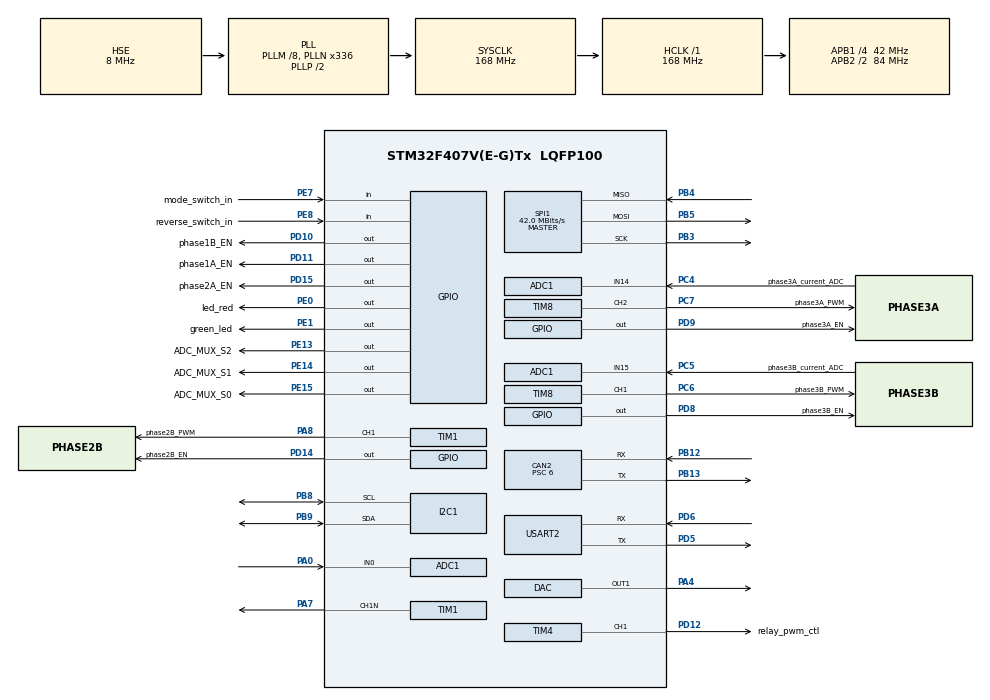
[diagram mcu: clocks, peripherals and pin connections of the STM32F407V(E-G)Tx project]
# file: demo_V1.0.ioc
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ADC1.Channel-14\#ChannelRegularConversion=ADC_CHANNEL_14
ADC1.Channel-15\#ChannelRegularConversion=ADC_CHANNEL_15
ADC1.Channel-16\#ChannelRegularConversion=ADC_CHANNEL_14
ADC1.Channel-17\#ChannelRegularConversion=ADC_CHANNEL_15
ADC1.Channel-18\#ChannelRegularConversion=ADC_CHANNEL_14
ADC1.Channel-19\#ChannelRegularConversion=ADC_CHANNEL_15
ADC1.Channel-20\#ChannelRegularConversion=ADC_CHANNEL_14
ADC1.Channel-21\#ChannelRegularConversion=ADC_CHANNEL_15
ADC1.Channel-22\#ChannelRegularConversion=ADC_CHANNEL_14
ADC1.Channel-23\#ChannelRegularConversion=ADC_CHANNEL_15
ADC1.Channel-24\#ChannelRegularConversion=ADC_CHANNEL_14
ADC1.Channel-26\#ChannelRegularConversion=ADC_CHANNEL_0
ADC1.ContinuousConvMode=ENABLE
ADC1.EOCSelection=ADC_EOC_SEQ_CONV
ADC1.EnableAnalogWatchDog=true
ADC1.ExternalTrigConv=ADC_EXTERNALTRIGCONV_T3_CC1
ADC1.ExternalTrigConvEdge=ADC_EXTERNALTRIGCONVEDGE_RISING
ADC1.HighThreshold=4095
ADC1.ITMode=ENABLE
ADC1.NbrOfConversion=12
ADC1.NbrOfConversionFlag=1
ADC1.Rank-14\#ChannelRegularConversion=1
ADC1.Rank-15\#ChannelRegularConversion=2
ADC1.Rank-16\#ChannelRegularConversion=3
ADC1.Rank-17\#ChannelRegularConversion=4
ADC1.Rank-18\#ChannelRegularConversion=5
ADC1.Rank-19\#ChannelRegularConversion=6
ADC1.Rank-20\#ChannelRegularConversion=7
ADC1.Rank-21\#ChannelRegularConversion=8
ADC1.Rank-22\#ChannelRegularConversion=9
ADC1.Rank-23\#ChannelRegularConversion=10
ADC1.Rank-24\#ChannelRegularConversion=11
ADC1.Rank-26\#ChannelRegularConversion=12
ADC1.SamplingTime-14\#ChannelRegularConversion=ADC_SAMPLETIME_15CYCLES
ADC1.SamplingTime-15\#ChannelRegularConversion=ADC_SAMPLETIME_15CYCLES
ADC1.SamplingTime-16\#ChannelRegularConversion=ADC_SAMPLETIME_15CYCLES
ADC1.SamplingTime-17\#ChannelRegularConversion=ADC_SAMPLETIME_15CYCLES
ADC1.SamplingTime-18\#ChannelRegularConversion=ADC_SAMPLETIME_15CYCLES
ADC1.SamplingTime-19\#ChannelRegularConversion=ADC_SAMPLETIME_15CYCLES
ADC1.SamplingTime-20\#ChannelRegularConversion=ADC_SAMPLETIME_15CYCLES
ADC1.SamplingTime-21\#ChannelRegularConversion=ADC_SAMPLETIME_15CYCLES
ADC1.SamplingTime-22\#ChannelRegularConversion=ADC_SAMPLETIME_15CYCLES
ADC1.SamplingTime-23\#ChannelRegularConversion=ADC_SAMPLETIME_15CYCLES
ADC1.SamplingTime-24\#ChannelRegularConversion=ADC_SAMPLETIME_15CYCLES
ADC1.SamplingTime-26\#ChannelRegularConversion=ADC_SAMPLETIME_3CYCLES
ADC1.ScanConvMode=ENABLE
ADC1.WatchdogMode=ADC_ANALOGWATCHDOG_ALL_REG
ADC1.master=1
CAN2.ABOM=ENABLE
CAN2.BS1=CAN_BS1_6TQ
CAN2.BS2=CAN_BS2_7TQ
CAN2.CalculateBaudRate=500000
CAN2.CalculateTimeBit=2000
CAN2.CalculateTimeQuantum=142.85714285714286
CAN2.Prescaler=6
CAN2.RFLM=DISABLE
CAN2.TXFP=DISABLE
DAC.DAC_Trigger=DAC_TRIGGER_NONE
Dma.ADC1.2.Direction=DMA_PERIPH_TO_MEMORY
Dma.ADC1.2.FIFOMode=DMA_FIFOMODE_DISABLE
Dma.ADC1.2.Instance=DMA2_Stream0
Dma.ADC1.2.MemDataAlignment=DMA_MDATAALIGN_HALFWORD
Dma.ADC1.2.MemInc=DMA_MINC_ENABLE
Dma.ADC1.2.Mode=DMA_NORMAL
Dma.ADC1.2.PeriphDataAlignment=DMA_PDATAALIGN_HALFWORD
Dma.ADC1.2.PeriphInc=DMA_PINC_DISABLE
Dma.ADC1.2.Priority=DMA_PRIORITY_HIGH
Dma.Request0=USART2_RX
Dma.Request1=USART2_TX
Dma.Request2=ADC1
Dma.USART2_RX.0.Direction=DMA_PERIPH_TO_MEMORY
Dma.USART2_RX.0.FIFOMode=DMA_FIFOMODE_DISABLE
Dma.USART2_RX.0.Instance=DMA1_Stream5
Dma.USART2_RX.0.MemDataAlignment=DMA_MDATAALIGN_BYTE
Dma.USART2_RX.0.MemInc=DMA_MINC_ENABLE
Dma.USART2_RX.0.Mode=DMA_CIRCULAR
Dma.USART2_RX.0.PeriphDataAlignment=DMA_PDATAALIGN_BYTE
Dma.USART2_RX.0.PeriphInc=DMA_PINC_DISABLE
Dma.USART2_RX.0.Priority=DMA_PRIORITY_HIGH
Dma.USART2_TX.1.Direction=DMA_MEMORY_TO_PERIPH
Dma.USART2_TX.1.FIFOMode=DMA_FIFOMODE_DISABLE
Dma.USART2_TX.1.Instance=DMA1_Stream6
Dma.USART2_TX.1.MemDataAlignment=DMA_MDATAALIGN_BYTE
Dma.USART2_TX.1.MemInc=DMA_MINC_ENABLE
Dma.USART2_TX.1.Mode=DMA_NORMAL
Dma.USART2_TX.1.PeriphDataAlignment=DMA_PDATAALIGN_BYTE
Dma.USART2_TX.1.PeriphInc=DMA_PINC_DISABLE
Dma.USART2_TX.1.Priority=DMA_PRIORITY_HIGH
Mcu.Family=STM32F4
Mcu.Name=STM32F407V(E-G)Tx
Mcu.Package=LQFP100
NVIC.ADC_IRQn=true\:0\:0\:true\:true\:true\:6\:true\:true\:true
NVIC.CAN2_RX0_IRQn=true\:3\:0\:true\:true\:true\:1\:true\:true\:true
NVIC.DMA1_Stream5_IRQn=true\:3\:3\:true\:true\:true\:4\:false\:true\:true
NVIC.DMA1_Stream6_IRQn=true\:3\:3\:true\:true\:true\:3\:false\:true\:true
NVIC.DMA2_Stream0_IRQn=true\:1\:0\:true\:true\:true\:7\:false\:true\:true
NVIC.PriorityGroup=NVIC_PRIORITYGROUP_2
NVIC.TIM3_IRQn=true\:2\:0\:true\:true\:true\:5\:true\:true\:true
NVIC.USART2_IRQn=true\:3\:2\:true\:true\:true\:2\:true\:true\:true
PA0-WKUP.Signal=ADCx_IN0
PA10.GPIO_Label=phase1B_PWM
PA10.GPIO_Speed=GPIO_SPEED_FREQ_VERY_HIGH
PA10.Signal=S_TIM1_CH3
PA11.GPIO_Label=phase1A_PWM
PA11.GPIO_Speed=GPIO_SPEED_FREQ_VERY_HIGH
PA11.Signal=S_TIM1_CH4
PA13.Mode=Serial_Wire
PA13.Signal=SYS_JTMS-SWDIO
PA14.Mode=Serial_Wire
PA14.Signal=SYS_JTCK-SWCLK
PA4.Signal=COMP_DAC1_group
PA7.Mode=PWM Generation1 CH1 CH1N
PA7.Signal=TIM1_CH1N
PA8.GPIO_Label=phase2B_PWM
PA8.GPIO_ModeDefaultPP=GPIO_MODE_AF_PP
PA8.GPIO_Speed=GPIO_SPEED_FREQ_VERY_HIGH
PA8.Signal=S_TIM1_CH1
PA9.GPIO_Label=phase2A_PWM
PA9.GPIO_Speed=GPIO_SPEED_FREQ_VERY_HIGH
PA9.Signal=S_TIM1_CH2
PB12.GPIO_Speed=GPIO_SPEED_FREQ_HIGH
PB12.Mode=CAN_Activate
PB12.Signal=CAN2_RX
PB13.GPIO_Speed=GPIO_SPEED_FREQ_HIGH
PB13.Mode=CAN_Activate
PB13.Signal=CAN2_TX
PB3.Mode=Full_Duplex_Master
PB3.Signal=SPI1_SCK
PB4.Mode=Full_Duplex_Master
PB4.Signal=SPI1_MISO
PB5.Mode=Full_Duplex_Master
PB5.Signal=SPI1_MOSI
PB8.Mode=I2C
PB8.Signal=I2C1_SCL
PB9.Mode=I2C
PB9.Signal=I2C1_SDA
PC4.GPIO_Label=phase3A_current_ADC
PC4.Signal=ADCx_IN14
PC5.GPIO_Label=phase3B_current_ADC
PC5.Signal=ADCx_IN15
PC6.GPIO_Label=phase3B_PWM
PC6.GPIO_Speed=GPIO_SPEED_FREQ_VERY_HIGH
PC6.Signal=S_TIM8_CH1
PC7.GPIO_Label=phase3A_PWM
PC7.GPIO_Speed=GPIO_SPEED_FREQ_VERY_HIGH
PC7.Signal=S_TIM8_CH2
PD10.GPIO_Label=phase1B_EN
PD10.GPIO_ModeDefaultOutputPP=GPIO_MODE_OUTPUT_PP
PD10.GPIO_PuPd=GPIO_NOPULL
PD10.GPIO_Speed=GPIO_SPEED_FREQ_VERY_HIGH
PD10.Signal=GPIO_Output
PD11.GPIO_Label=phase1A_EN
PD11.GPIO_ModeDefaultOutputPP=GPIO_MODE_OUTPUT_PP
PD11.GPIO_PuPd=GPIO_NOPULL
PD11.GPIO_Speed=GPIO_SPEED_FREQ_VERY_HIGH
PD11.Signal=GPIO_Output
PD12.GPIO_Label=relay_pwm_ctl
PD12.Signal=S_TIM4_CH1
PD14.GPIO_Label=phase2B_EN
PD14.GPIO_ModeDefaultOutputPP=GPIO_MODE_OUTPUT_PP
PD14.GPIO_PuPd=GPIO_NOPULL
PD14.GPIO_Speed=GPIO_SPEED_FREQ_VERY_HIGH
PD14.Signal=GPIO_Output
PD15.GPIO_Label=phase2A_EN
PD15.GPIO_ModeDefaultOutputPP=GPIO_MODE_OUTPUT_PP
PD15.GPIO_PuPd=GPIO_NOPULL
PD15.GPIO_Speed=GPIO_SPEED_FREQ_VERY_HIGH
PD15.Signal=GPIO_Output
PD5.GPIO_PuPd=GPIO_PULLUP
PD5.GPIO_Speed=GPIO_SPEED_FREQ_HIGH
PD5.Mode=Asynchronous
PD5.Signal=USART2_TX
PD6.GPIO_PuPd=GPIO_PULLUP
PD6.GPIO_Speed=GPIO_SPEED_FREQ_HIGH
PD6.Mode=Asynchronous
PD6.Signal=USART2_RX
PD8.GPIO_Label=phase3B_EN
PD8.GPIO_ModeDefaultOutputPP=GPIO_MODE_OUTPUT_PP
PD8.GPIO_PuPd=GPIO_NOPULL
PD8.GPIO_Speed=GPIO_SPEED_FREQ_VERY_HIGH
PD8.Signal=GPIO_Output
PD9.GPIO_Label=phase3A_EN
PD9.GPIO_ModeDefaultOutputPP=GPIO_MODE_OUTPUT_PP
PD9.GPIO_PuPd=GPIO_NOPULL
PD9.GPIO_Speed=GPIO_SPEED_FREQ_VERY_HIGH
PD9.Signal=GPIO_Output
PE0.GPIO_Label=led_red
PE0.Signal=GPIO_Output
PE1.GPIO_Label=green_led
PE1.Signal=GPIO_Output
PE13.GPIO_Label=ADC_MUX_S2
PE13.GPIO_ModeDefaultOutputPP=GPIO_MODE_OUTPUT_PP
PE13.GPIO_PuPd=GPIO_NOPULL
PE13.GPIO_Speed=GPIO_SPEED_FREQ_VERY_HIGH
PE13.PinState=GPIO_PIN_RESET
PE13.Signal=GPIO_Output
PE14.GPIO_Label=ADC_MUX_S1
PE14.GPIO_ModeDefaultOutputPP=GPIO_MODE_OUTPUT_PP
PE14.GPIO_PuPd=GPIO_NOPULL
PE14.GPIO_Speed=GPIO_SPEED_FREQ_VERY_HIGH
PE14.PinState=GPIO_PIN_RESET
PE14.Signal=GPIO_Output
PE15.GPIO_Label=ADC_MUX_S0
PE15.GPIO_ModeDefaultOutputPP=GPIO_MODE_OUTPUT_PP
PE15.GPIO_PuPd=GPIO_NOPULL
PE15.GPIO_Speed=GPIO_SPEED_FREQ_VERY_HIGH
PE15.PinState=GPIO_PIN_RESET
PE15.Signal=GPIO_Output
PE7.GPIO_Label=mode_switch_in
PE7.Signal=GPIO_Input
PE8.GPIO_Label=reverse_switch_in
PE8.Signal=GPIO_Input
PH0-OSC_IN.Mode=HSE-External-Oscillator
PH0-OSC_IN.Signal=RCC_OSC_IN
PH1-OSC_OUT.Mode=HSE-External-Oscillator
PH1-OSC_OUT.Signal=RCC_OSC_OUT
ProjectManager.HeapSize=0x2800
ProjectManager.StackSize=0x2100
ProjectManager.TargetToolchain=MDK-ARM V5.27
RCC.48MHZClocksFreq_Value=84000000
RCC.AHBFreq_Value=168000000
RCC.APB1CLKDivider=RCC_HCLK_DIV4
RCC.APB1Freq_Value=42000000
RCC.APB1TimFreq_Value=84000000
RCC.APB2CLKDivider=RCC_HCLK_DIV2
RCC.APB2Freq_Value=84000000
RCC.APB2TimFreq_Value=168000000
RCC.CortexFreq_Value=168000000
RCC.EnbaleCSS=true
RCC.HCLKFreq_Value=168000000
RCC.HSE_VALUE=8000000
RCC.HSI_VALUE=16000000
RCC.LSE_VALUE=32768
RCC.PLLM=8
RCC.PLLN=336
RCC.PLLSourceVirtual=RCC_PLLSOURCE_HSE
RCC.SYSCLKFreq_VALUE=168000000
RCC.SYSCLKSource=RCC_SYSCLKSOURCE_PLLCLK
RCC.VCOOutputFreq_Value=336000000
SH.ADCx_IN0.0=ADC1_IN0,IN0
SH.ADCx_IN14.0=ADC1_IN14,IN14
SH.ADCx_IN15.0=ADC1_IN15,IN15
SH.COMP_DAC1_group.0=DAC_OUT1,DAC_OUT1
SH.S_TIM1_CH1.0=TIM1_CH1,PWM Generation1 CH1 CH1N
SH.S_TIM1_CH2.0=TIM1_CH2
SH.S_TIM1_CH3.0=TIM1_CH3
SH.S_TIM1_CH4.0=TIM1_CH4
SH.S_TIM4_CH1.0=TIM4_CH1,PWM Generation1 CH1
SH.S_TIM8_CH1.0=TIM8_CH1,PWM Generation1 CH1
SH.S_TIM8_CH2.0=TIM8_CH2,PWM Generation2 CH2
SPI1.BaudRatePrescaler=SPI_BAUDRATEPRESCALER_2
SPI1.CalculateBaudRate=42.0 MBits/s
SPI1.Direction=SPI_DIRECTION_2LINES
SPI1.Mode=SPI_MODE_MASTER
SPI1.VirtualType=VM_MASTER
TIM1.AutomaticOutput=TIM_AUTOMATICOUTPUT_ENABLE
TIM1.BreakState=TIM_BREAK_ENABLE
TIM1.Channel-PWM\ Generation1\ CH1\ CH1N=TIM_CHANNEL_1
TIM1.CounterMode=TIM_COUNTERMODE_CENTERALIGNED3
TIM1.LockLevel=TIM_LOCKLEVEL_OFF
TIM1.OC1Preload_PWM=DISABLE
TIM1.OCIdleState_1=TIM_OCIDLESTATE_SET
TIM1.OCPolarity_1=TIM_OCPOLARITY_LOW
TIM1.OffStateIDLEMode=TIM_OSSI_ENABLE
TIM1.OffStateRunMode=TIM_OSSR_ENABLE
TIM1.Period=1399
TIM1.Prescaler=3
TIM2.Period=1999
TIM2.TIM_MasterOutputTrigger=TIM_TRGO_ENABLE
TIM2.TIM_MasterSlaveMode=TIM_MASTERSLAVEMODE_ENABLE
TIM3.AutoReloadPreload=TIM_AUTORELOAD_PRELOAD_DISABLE
TIM3.Channel-PWM\ Generation1\ No\ Output=TIM_CHANNEL_1
TIM3.OC1Preload_PWM=DISABLE
TIM3.OCMode_PWM-PWM\ Generation1\ No\ Output=TIM_OCMODE_PWM2
TIM3.Period=1399
TIM3.Prescaler=1
TIM3.Pulse-PWM\ Generation1\ No\ Output=721
TIM3.TIM_MasterOutputTrigger=TIM_TRGO_OC1REF
TIM3.TIM_MasterSlaveMode=TIM_MASTERSLAVEMODE_DISABLE
TIM4.Channel-PWM\ Generation1\ CH1=TIM_CHANNEL_1
TIM4.CounterMode=TIM_COUNTERMODE_CENTERALIGNED3
TIM4.OC1Preload_PWM=DISABLE
TIM4.OCMode_PWM-PWM\ Generation1\ CH1=TIM_OCMODE_PWM2
TIM4.OCPolarity_1=TIM_OCPOLARITY_LOW
TIM4.Period=1399
TIM4.Prescaler=1
TIM8.Channel-PWM\ Generation1\ CH1=TIM_CHANNEL_1
TIM8.Channel-PWM\ Generation2\ CH2=TIM_CHANNEL_2
TIM8.CounterMode=TIM_COUNTERMODE_CENTERALIGNED3
TIM8.OC1Preload_PWM=DISABLE
TIM8.OC2Preload_PWM=DISABLE
TIM8.OCIdleState_1=TIM_OCIDLESTATE_SET
TIM8.OCIdleState_2=TIM_OCIDLESTATE_SET
TIM8.OCMode_PWM-PWM\ Generation1\ CH1=TIM_OCMODE_PWM2
TIM8.OCMode_PWM-PWM\ Generation2\ CH2=TIM_OCMODE_PWM2
TIM8.OCPolarity_1=TIM_OCPOLARITY_LOW
TIM8.OCPolarity_2=TIM_OCPOLARITY_LOW
TIM8.Period=1399
TIM8.Prescaler=3
USART2.VirtualMode=VM_ASYNC
VP_CRC_VS_CRC.Mode=CRC_Activate
VP_TIM1_VS_ClockSourceINT.Mode=Internal
VP_TIM2_VS_ClockSourceINT.Mode=Internal
VP_TIM3_VS_ClockSourceINT.Mode=Internal
VP_TIM3_VS_ClockSourceITR.Mode=TriggerSource_ITR1
VP_TIM3_VS_ControllerModeReset.Mode=Reset Mode
VP_TIM3_VS_no_output1.Mode=PWM Generation1 No Output
VP_TIM4_VS_ClockSourceINT.Mode=Internal
VP_TIM4_VS_ClockSourceITR.Mode=TriggerSource_ITR1
VP_TIM4_VS_ControllerModeReset.Mode=Reset Mode
VP_TIM8_VS_ClockSourceINT.Mode=Internal
VP_TIM8_VS_ClockSourceITR.Mode=TriggerSource_ITR1
VP_TIM8_VS_ControllerModeReset.Mode=Reset Mode
board=custom

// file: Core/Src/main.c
/* USER CODE BEGIN Header */
/**
  ******************************************************************************
  * @file           : main.c
  * @brief          : Main program body
  ******************************************************************************
  * @attention
  *
  * Copyright (c) 2025 STMicroelectronics.
  * All rights reserved.
  *
  * This software is licensed under terms that can be found in the LICENSE file
  * in the root directory of this software component.
  * If no LICENSE file comes with this software, it is provided AS-IS.
  *
  ******************************************************************************
  */
/* USER CODE END Header */
#include "main.h"
#include "adc.h"
#include "can.h"
#include "crc.h"
#include "dac.h"
#include "dma.h"
#include "i2c.h"
#include "spi.h"
#include "tim.h"
#include "usart.h"
#include "gpio.h"

/* USER CODE BEGIN Includes */
#include "System_configuration.h"
#include "SchedulerBalance.h"

/* USER CODE END Includes */

/* USER CODE BEGIN PV */
volatile uint8_t CurrentZeroOffsetReadFlg = 0;
volatile uint8_t selfcheck_state = 0;
/* USER CODE END PV */

void SystemClock_Config(void);
static void MX_NVIC_Init(void);

int main(void)
{

  /* USER CODE BEGIN 1 */
#ifdef BOOT_MODE
	/*���������������������������������� Ӧ�ó���APP ��������������������������������*/
//  NVIC_SetVectorTable(NVIC_VectTab_FLASH, 0x20000);
#endif
  /* USER CODE END 1 */

  /* MCU Configuration--------------------------------------------------------*/

  /* Reset of all peripherals, Initializes the Flash interface and the Systick. */
  HAL_Init();

  /* Configure the system clock */
  SystemClock_Config();

  /* USER CODE BEGIN SysInit */
  FlashWriteFuse();//����˿
	get_FlashFuse_Status();                 //��ȡ��˿״̬

  /* USER CODE END SysInit */

  /* Initialize all configured peripherals */
  MX_GPIO_Init();
  MX_DMA_Init();
  MX_CRC_Init();
  MX_USART2_UART_Init();
  MX_ADC1_Init();
  MX_CAN2_Init();
  MX_TIM2_Init();
  MX_TIM3_Init();
  MX_TIM8_Init();
  MX_TIM1_Init();
  MX_TIM4_Init();
  MX_I2C1_Init();
  MX_SPI1_Init();
  MX_DAC_Init();

  /* Initialize interrupts */
  MX_NVIC_Init();
  /* USER CODE BEGIN 2 */
  SysInit_main();//ϵͳ��ʼ��
	HAL_Delay(500*2);
	CurrentZeroOffsetReadFlg = 1;
	selfcheck_state = 1;
  /* USER CODE END 2 */

  /* Infinite loop */
  /* USER CODE BEGIN WHILE */
  while (1)
  {
		if(1 == mFuntion_Manage.Time_500us_RunFlag)
		{
			mFuntion_Manage.Time_500us_RunFlag = 0;
			TaskScheduler(task_t, TASK_NUM);
		}
    /* USER CODE END WHILE */

  }
}

void SystemClock_Config(void)
{
  RCC_OscInitTypeDef RCC_OscInitStruct = {0};
  RCC_ClkInitTypeDef RCC_ClkInitStruct = {0};

  /** Configure the main internal regulator output voltage
  */
  __HAL_RCC_PWR_CLK_ENABLE();
  __HAL_PWR_VOLTAGESCALING_CONFIG(PWR_REGULATOR_VOLTAGE_SCALE1);

  /** Initializes the RCC Oscillators according to the specified parameters
  * in the RCC_OscInitTypeDef structure.
  */
  RCC_OscInitStruct.OscillatorType = RCC_OSCILLATORTYPE_HSE;
  RCC_OscInitStruct.HSEState = RCC_HSE_ON;
  RCC_OscInitStruct.PLL.PLLState = RCC_PLL_ON;
  RCC_OscInitStruct.PLL.PLLSource = RCC_PLLSOURCE_HSE;
  RCC_OscInitStruct.PLL.PLLM = 8;
  RCC_OscInitStruct.PLL.PLLN = 336;
  RCC_OscInitStruct.PLL.PLLP = RCC_PLLP_DIV2;
  RCC_OscInitStruct.PLL.PLLQ = 4;
  if (HAL_RCC_OscConfig(&RCC_OscInitStruct) != HAL_OK)
  {
    Error_Handler();
  }

  /** Initializes the CPU, AHB and APB buses clocks
  */
  RCC_ClkInitStruct.ClockType = RCC_CLOCKTYPE_HCLK|RCC_CLOCKTYPE_SYSCLK
                              |RCC_CLOCKTYPE_PCLK1|RCC_CLOCKTYPE_PCLK2;
  RCC_ClkInitStruct.SYSCLKSource = RCC_SYSCLKSOURCE_PLLCLK;
  RCC_ClkInitStruct.AHBCLKDivider = RCC_SYSCLK_DIV1;
  RCC_ClkInitStruct.APB1CLKDivider = RCC_HCLK_DIV4;
  RCC_ClkInitStruct.APB2CLKDivider = RCC_HCLK_DIV2;

  if (HAL_RCC_ClockConfig(&RCC_ClkInitStruct, FLASH_LATENCY_5) != HAL_OK)
  {
    Error_Handler();
  }

  /** Enables the Clock Security System
  */
  HAL_RCC_EnableCSS();
}

/**
  * @brief NVIC Configuration.
  * @retval None
  */
static void MX_NVIC_Init(void)
{
  /* CAN2_RX0_IRQn interrupt configuration */
  HAL_NVIC_SetPriority(CAN2_RX0_IRQn, 3, 0);
  HAL_NVIC_EnableIRQ(CAN2_RX0_IRQn);
  /* USART2_IRQn interrupt configuration */
  HAL_NVIC_SetPriority(USART2_IRQn, 3, 2);
  HAL_NVIC_EnableIRQ(USART2_IRQn);
  /* DMA1_Stream6_IRQn interrupt configuration */
  HAL_NVIC_SetPriority(DMA1_Stream6_IRQn, 3, 3);
  HAL_NVIC_EnableIRQ(DMA1_Stream6_IRQn);
  /* DMA1_Stream5_IRQn interrupt configuration */
  HAL_NVIC_SetPriority(DMA1_Stream5_IRQn, 3, 3);
  HAL_NVIC_EnableIRQ(DMA1_Stream5_IRQn);
  /* TIM3_IRQn interrupt configuration */
  HAL_NVIC_SetPriority(TIM3_IRQn, 2, 0);
  HAL_NVIC_EnableIRQ(TIM3_IRQn);
  /* ADC_IRQn interrupt configuration */
  HAL_NVIC_SetPriority(ADC_IRQn, 0, 0);
  HAL_NVIC_EnableIRQ(ADC_IRQn);
  /* DMA2_Stream0_IRQn interrupt configuration */
  HAL_NVIC_SetPriority(DMA2_Stream0_IRQn, 1, 0);
  HAL_NVIC_EnableIRQ(DMA2_Stream0_IRQn);
}

/* USER CODE BEGIN 4 */
HAL_StatusTypeDef HAL_InitTick(uint32_t TickPriority)
{
  /* Configure the SysTick to have interrupt in 1ms time basis*/
	//�޸�Ϊ2kƵ��
  if (HAL_SYSTICK_Config(SystemCoreClock / (2000U / uwTickFreq)) > 0U)
  {
    return HAL_ERROR;
  }

  /* Configure the SysTick IRQ priority */
  if (TickPriority < (1UL << __NVIC_PRIO_BITS))
  {
    HAL_NVIC_SetPriority(SysTick_IRQn, TickPriority, 0U);
    uwTickPrio = TickPriority;
  }
  else
  {
    return HAL_ERROR;
  }

  /* Return function status */
  return HAL_OK;
}

/* USER CODE END 4 */

void Error_Handler(void)
{
  __disable_irq();
  while (1)
  {
  }
}
